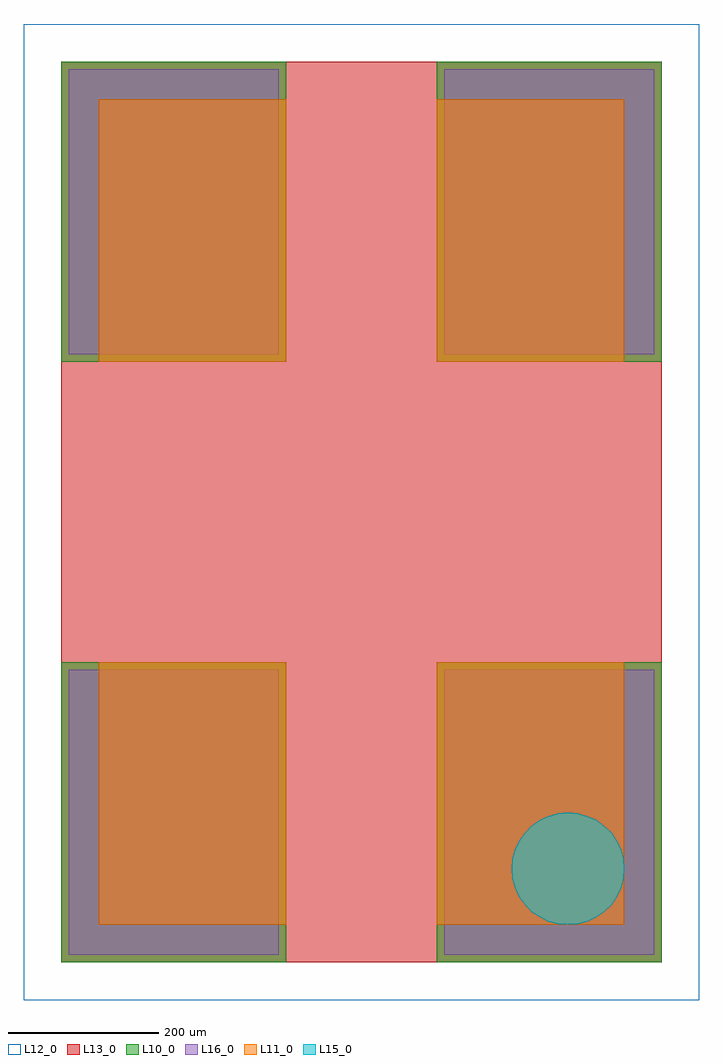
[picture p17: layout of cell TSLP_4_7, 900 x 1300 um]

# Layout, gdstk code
import gdstk
lib = gdstk.Library(unit=1e-6, precision=1e-09)
def R(c, l, rs):  # rectangles x0, y0, x1, y1
    for r in rs: c.add(gdstk.rectangle(r[:2], r[2:], *l))
def P(c, l, *ps):  # polygons
    for p in ps: c.add(gdstk.Polygon(p, *l))
L10_0 = (10, 0)
L11_0 = (11, 0)
L12_0 = (12, 0)
L13_0 = (13, 0)
L15_0 = (15, 0)
L16_0 = (16, 0)

tslp_4_7 = lib.new_cell('TSLP_4_7')
R(tslp_4_7, L10_0, [(-400,-600,-100,-200), (100,-600,400,-200), (-400,200,-100,600), (100,200,400,600)])
R(tslp_4_7, L11_0, [(-350,-550,-100,-200), (100,-550,350,-200), (-350,200,-100,550), (100,200,350,550)])
R(tslp_4_7, L12_0, [(-450,-650,450,650)])
R(tslp_4_7, L13_0, [(-400,-600,400,600)])
P(tslp_4_7, L15_0, [(346,-501),(340,-513),(333,-523),(323,-533),(313,-540),(301,-546),(288,-549),(275,-550),(262,-549),(249,-546),(238,-540),(227,-533),(218,-523),(210,-513),(205,-501),(201,-488),(200,-475),(201,-462),(205,-449),(210,-438),(218,-427),(227,-418),(238,-410),(249,-405),(262,-401),(275,-400),(288,-401),(301,-405),(313,-410),(323,-418),(333,-427),(340,-438),(346,-449),(349,-462),(350,-475),(349,-488)])
R(tslp_4_7, L16_0, [(-390,-590,-110,-210), (110,-590,390,-210), (-390,210,-110,590), (110,210,390,590)])

lib.write_gds('TSLP_4_7.gds')
